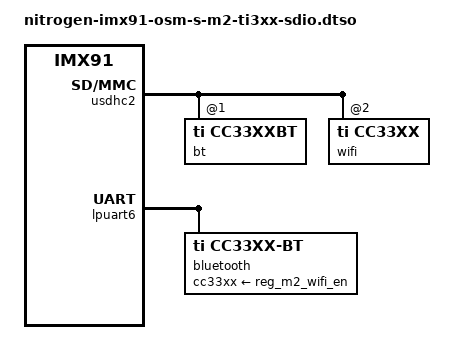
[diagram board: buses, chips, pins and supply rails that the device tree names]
// SPDX-License-Identifier: (GPL-2.0+ OR MIT)
/*
 * M.2 SDIO TI CC33xx Wi-Fi/BT
 *
 * Copyright 2026 Ezurio LLC
 */

/dts-v1/;
/plugin/;

#include "nitrogen-imx91-osm-s-m2-sdio.dtsi"

&reg_m2_wifi_en {
	startup-delay-us = <10000>;
};

&usdhc2 {
	cap-power-off-card;

	#address-cells = <1>;
	#size-cells = <0>;

	bt@1 {
		reg = <1>;
		compatible = "ti,cc33xxbt";
	};

	wifi@2 {
		reg = <2>;
		compatible = "ti,cc33xx";
	};
};

&lpuart6 {
	bluetooth {
		compatible = "ti,cc33xx-bt";
		cc33xx-supply = <&reg_m2_wifi_en>;
		max-speed = <115200>;
	};
};
